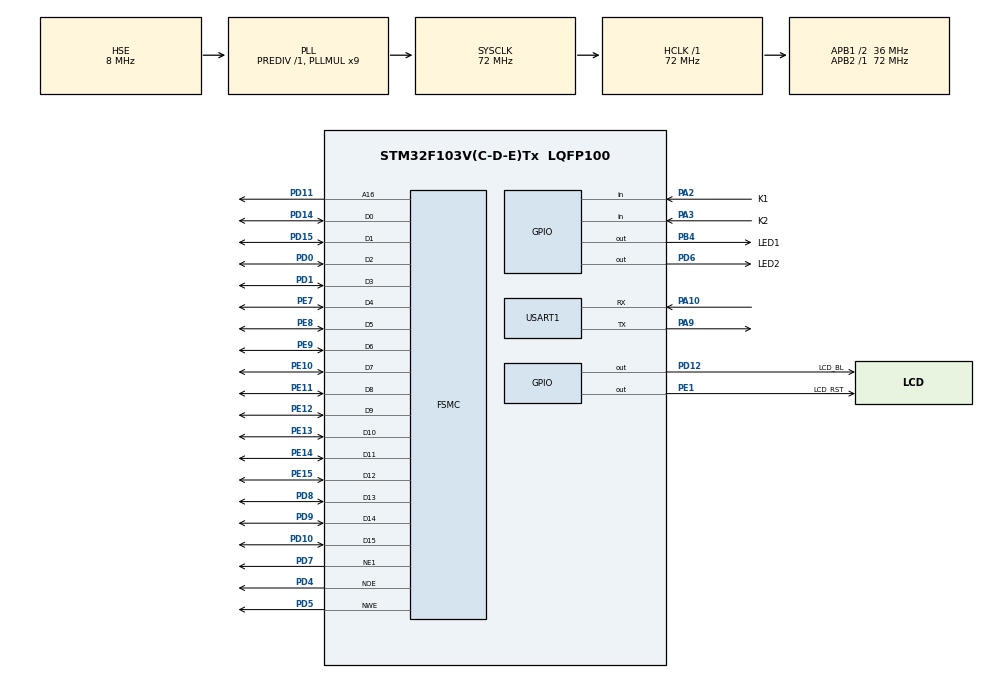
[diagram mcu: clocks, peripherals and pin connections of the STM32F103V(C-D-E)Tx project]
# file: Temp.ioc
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Mcu.Family=STM32F1
Mcu.Name=STM32F103V(C-D-E)Tx
Mcu.Package=LQFP100
NVIC.PriorityGroup=NVIC_PRIORITYGROUP_4
NVIC.TIM2_IRQn=true\:0\:0\:false\:false\:true\:true\:true\:true
NVIC.USART1_IRQn=true\:0\:0\:false\:false\:true\:true\:true\:true
OSC_IN.Mode=HSE-External-Oscillator
OSC_IN.Signal=RCC_OSC_IN
OSC_OUT.Mode=HSE-External-Oscillator
OSC_OUT.Signal=RCC_OSC_OUT
PA10.Mode=Asynchronous
PA10.Signal=USART1_RX
PA13.Mode=Serial_Wire
PA13.Signal=SYS_JTMS-SWDIO
PA14.Mode=Serial_Wire
PA14.Signal=SYS_JTCK-SWCLK
PA2.GPIO_Label=K1
PA2.Signal=GPIO_Input
PA3.GPIO_Label=K2
PA3.Signal=GPIO_Input
PA9.Mode=Asynchronous
PA9.Signal=USART1_TX
PB4.GPIO_Label=LED1
PB4.GPIO_ModeDefaultOutputPP=GPIO_MODE_OUTPUT_PP
PB4.GPIO_PuPd=GPIO_PULLUP
PB4.GPIO_Speed=GPIO_SPEED_FREQ_HIGH
PB4.PinState=GPIO_PIN_SET
PB4.Signal=GPIO_Output
PC14-OSC32_IN.Mode=LSE-External-Oscillator
PC14-OSC32_IN.Signal=RCC_OSC32_IN
PC15-OSC32_OUT.Mode=LSE-External-Oscillator
PC15-OSC32_OUT.Signal=RCC_OSC32_OUT
PD0.Mode=16b-d1
PD0.Signal=FSMC_D2
PD1.Mode=16b-d1
PD1.Signal=FSMC_D3
PD10.Mode=16b-d1
PD10.Signal=FSMC_D15
PD11.Mode=A16_1
PD11.Signal=FSMC_A16
PD12.GPIO_Label=LCD_BL
PD12.GPIO_ModeDefaultOutputPP=GPIO_MODE_OUTPUT_PP
PD12.GPIO_PuPd=GPIO_PULLUP
PD12.GPIO_Speed=GPIO_SPEED_FREQ_HIGH
PD12.PinState=GPIO_PIN_SET
PD12.Signal=GPIO_Output
PD14.Mode=16b-d1
PD14.Signal=FSMC_D0
PD15.Mode=16b-d1
PD15.Signal=FSMC_D1
PD4.Mode=Lcd1
PD4.Signal=FSMC_NOE
PD5.Mode=Lcd1
PD5.Signal=FSMC_NWE
PD6.GPIO_Label=LED2
PD6.GPIO_ModeDefaultOutputPP=GPIO_MODE_OUTPUT_PP
PD6.GPIO_PuPd=GPIO_PULLUP
PD6.GPIO_Speed=GPIO_SPEED_FREQ_HIGH
PD6.PinState=GPIO_PIN_SET
PD6.Signal=GPIO_Output
PD7.Mode=NorPsramChipSelect1_1
PD7.Signal=FSMC_NE1
PD8.Mode=16b-d1
PD8.Signal=FSMC_D13
PD9.Mode=16b-d1
PD9.Signal=FSMC_D14
PE1.GPIO_Label=LCD_RST
PE1.GPIO_ModeDefaultOutputPP=GPIO_MODE_OUTPUT_PP
PE1.GPIO_PuPd=GPIO_PULLUP
PE1.GPIO_Speed=GPIO_SPEED_FREQ_HIGH
PE1.PinState=GPIO_PIN_SET
PE1.Signal=GPIO_Output
PE10.Mode=16b-d1
PE10.Signal=FSMC_D7
PE11.Mode=16b-d1
PE11.Signal=FSMC_D8
PE12.Mode=16b-d1
PE12.Signal=FSMC_D9
PE13.Mode=16b-d1
PE13.Signal=FSMC_D10
PE14.Mode=16b-d1
PE14.Signal=FSMC_D11
PE15.Mode=16b-d1
PE15.Signal=FSMC_D12
PE7.Mode=16b-d1
PE7.Signal=FSMC_D4
PE8.Mode=16b-d1
PE8.Signal=FSMC_D5
PE9.Mode=16b-d1
PE9.Signal=FSMC_D6
ProjectManager.HeapSize=0x2000
ProjectManager.StackSize=0x2000
ProjectManager.TargetToolchain=Makefile
RCC.AHBFreq_Value=72000000
RCC.APB1CLKDivider=RCC_HCLK_DIV2
RCC.APB1Freq_Value=36000000
RCC.APB1TimFreq_Value=72000000
RCC.APB2Freq_Value=72000000
RCC.APB2TimFreq_Value=72000000
RCC.HCLKFreq_Value=72000000
RCC.PLLMUL=RCC_PLL_MUL9
RCC.PLLSourceVirtual=RCC_PLLSOURCE_HSE
RCC.RCC_MCOSource=RCC_MCO1SOURCE_PLLCLK
RCC.SYSCLKFreq_VALUE=72000000
RCC.SYSCLKSource=RCC_SYSCLKSOURCE_PLLCLK
RCC.USBFreq_Value=72000000
TIM2.AutoReloadPreload=TIM_AUTORELOAD_PRELOAD_ENABLE
TIM2.Period=999
TIM2.Prescaler=71
USART1.VirtualMode=VM_ASYNC
VP_TIM2_VS_ClockSourceINT.Mode=Internal
board=custom

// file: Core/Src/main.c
/* USER CODE BEGIN Header */
/**
  ******************************************************************************
  * @file           : main.c
  * @brief          : Main program body
  ******************************************************************************
  * @attention
  *
  * Copyright (c) 2025 STMicroelectronics.
  * All rights reserved.
  *
  * This software is licensed under terms that can be found in the LICENSE file
  * in the root directory of this software component.
  * If no LICENSE file comes with this software, it is provided AS-IS.
  *
  ******************************************************************************
  */
/* USER CODE END Header */
#include "main.h"

/* USER CODE BEGIN Includes */
#include "stdio.h"//printf函数
#include "bsp_lcd_driver.h"
#include "lvgl.h"
#include "lv_port_disp.h"
#include "lv_port_indev.h"
#include "my_lvgl_app.h"
/* USER CODE END Includes */

/* USER CODE BEGIN PTD */
uint8_t rx_buff[100];  //接收缓存
uint8_t rx_done = 0; //接收完成标志
uint8_t rx_cnt = 0;//接收数据长度
/* USER CODE END PTD */

TIM_HandleTypeDef htim2;

UART_HandleTypeDef huart1;

SRAM_HandleTypeDef hsram1;

void SystemClock_Config(void);
static void MX_GPIO_Init(void);
static void MX_USART1_UART_Init(void);
static void MX_FSMC_Init(void);
static void MX_TIM2_Init(void);

/* USER CODE BEGIN 0 */
void my_print(lv_log_level_t level, const char * buf);
void my_lvgl_app(void)
{
//	lv_ex_label_1();
	//lv_example_get_started_2();
	 lv_example_anim_1();
	//lv_line_test_start();
	//my_lvgl_nebula();
	//my_lvgl_pages();
	//my_lvgl_rgb();
	//ry_test();//ry_test
}
/* USER CODE END 0 */

int main(void)
{

  /* MCU Configuration--------------------------------------------------------*/

  /* Reset of all peripherals, Initializes the Flash interface and the Systick. */
  HAL_Init();

  /* Configure the system clock */
  SystemClock_Config();

  /* Initialize all configured peripherals */
  MX_GPIO_Init();
  MX_USART1_UART_Init();
  MX_FSMC_Init();
  MX_TIM2_Init();
  /* USER CODE BEGIN 2 */
  HAL_TIM_Base_Start_IT(&htim2);
	lv_init();
	lv_port_disp_init();
	//lv_port_indev_init();
  lv_log_register_print_cb(my_print);
  my_lvgl_app();
   /*
   // 创建测试UI
		//LCD_SetColors(BLACK,RED);
    lv_obj_t* label2 = lv_label_create(lv_scr_act());
    //lv_label_set_recolor(label2,true);
  lv_label_set_long_mode(label2,LV_LABEL_LONG_SCROLL_CIRCULAR);//circular scroll
  lv_obj_set_width(label2,120);
  // Hello world ! Trisuborn.
  lv_label_set_text(label2,"#ff Hello www.rymcu.com,LVGL STM32F103VET6 RT-thread os#");
  lv_obj_align(label2,LV_ALIGN_CENTER,0,0);
  lv_obj_invalidate(label2);*/
  /* USER CODE END 2 */

  /* Infinite loop */
  while (1)
  {

    /* USER CODE BEGIN 3 */
		lv_timer_handler();
		HAL_Delay(5);
    HAL_GPIO_TogglePin(LED1_GPIO_Port,LED1_Pin);
    //lv_tick_inc(1);
  }
  /* USER CODE END 3 */
}

void SystemClock_Config(void)
{
  RCC_OscInitTypeDef RCC_OscInitStruct = {0};
  RCC_ClkInitTypeDef RCC_ClkInitStruct = {0};

  /** Initializes the RCC Oscillators according to the specified parameters
  * in the RCC_OscInitTypeDef structure.
  */
  RCC_OscInitStruct.OscillatorType = RCC_OSCILLATORTYPE_HSE;
  RCC_OscInitStruct.HSEState = RCC_HSE_ON;
  RCC_OscInitStruct.HSEPredivValue = RCC_HSE_PREDIV_DIV1;
  RCC_OscInitStruct.HSIState = RCC_HSI_ON;
  RCC_OscInitStruct.PLL.PLLState = RCC_PLL_ON;
  RCC_OscInitStruct.PLL.PLLSource = RCC_PLLSOURCE_HSE;
  RCC_OscInitStruct.PLL.PLLMUL = RCC_PLL_MUL9;
  if (HAL_RCC_OscConfig(&RCC_OscInitStruct) != HAL_OK)
  {
    Error_Handler();
  }

  /** Initializes the CPU, AHB and APB buses clocks
  */
  RCC_ClkInitStruct.ClockType = RCC_CLOCKTYPE_HCLK|RCC_CLOCKTYPE_SYSCLK
                              |RCC_CLOCKTYPE_PCLK1|RCC_CLOCKTYPE_PCLK2;
  RCC_ClkInitStruct.SYSCLKSource = RCC_SYSCLKSOURCE_PLLCLK;
  RCC_ClkInitStruct.AHBCLKDivider = RCC_SYSCLK_DIV1;
  RCC_ClkInitStruct.APB1CLKDivider = RCC_HCLK_DIV2;
  RCC_ClkInitStruct.APB2CLKDivider = RCC_HCLK_DIV1;

  if (HAL_RCC_ClockConfig(&RCC_ClkInitStruct, FLASH_LATENCY_2) != HAL_OK)
  {
    Error_Handler();
  }
}

static void MX_TIM2_Init(void)
{

  TIM_ClockConfigTypeDef sClockSourceConfig = {0};
  TIM_MasterConfigTypeDef sMasterConfig = {0};

  htim2.Instance = TIM2;
  htim2.Init.Prescaler = 71;
  htim2.Init.CounterMode = TIM_COUNTERMODE_UP;
  htim2.Init.Period = 999;
  htim2.Init.ClockDivision = TIM_CLOCKDIVISION_DIV1;
  htim2.Init.AutoReloadPreload = TIM_AUTORELOAD_PRELOAD_ENABLE;
  if (HAL_TIM_Base_Init(&htim2) != HAL_OK)
  {
    Error_Handler();
  }
  sClockSourceConfig.ClockSource = TIM_CLOCKSOURCE_INTERNAL;
  if (HAL_TIM_ConfigClockSource(&htim2, &sClockSourceConfig) != HAL_OK)
  {
    Error_Handler();
  }
  sMasterConfig.MasterOutputTrigger = TIM_TRGO_RESET;
  sMasterConfig.MasterSlaveMode = TIM_MASTERSLAVEMODE_DISABLE;
  if (HAL_TIMEx_MasterConfigSynchronization(&htim2, &sMasterConfig) != HAL_OK)
  {
    Error_Handler();
  }

}

static void MX_USART1_UART_Init(void)
{

  huart1.Instance = USART1;
  huart1.Init.BaudRate = 115200;
  huart1.Init.WordLength = UART_WORDLENGTH_8B;
  huart1.Init.StopBits = UART_STOPBITS_1;
  huart1.Init.Parity = UART_PARITY_NONE;
  huart1.Init.Mode = UART_MODE_TX_RX;
  huart1.Init.HwFlowCtl = UART_HWCONTROL_NONE;
  huart1.Init.OverSampling = UART_OVERSAMPLING_16;
  if (HAL_UART_Init(&huart1) != HAL_OK)
  {
    Error_Handler();
  }
  /* USER CODE BEGIN USART1_Init 2 */
  //�????启接收中断，空闲中断
  __HAL_UART_ENABLE_IT(&huart1,UART_IT_IDLE|UART_IT_RXNE);
  /* USER CODE END USART1_Init 2 */

}

static void MX_GPIO_Init(void)
{
  GPIO_InitTypeDef GPIO_InitStruct = {0};

  /* GPIO Ports Clock Enable */
  __HAL_RCC_GPIOC_CLK_ENABLE();
  __HAL_RCC_GPIOA_CLK_ENABLE();
  __HAL_RCC_GPIOE_CLK_ENABLE();
  __HAL_RCC_GPIOD_CLK_ENABLE();
  __HAL_RCC_GPIOB_CLK_ENABLE();

  /*Configure GPIO pin Output Level */
  HAL_GPIO_WritePin(GPIOD, LCD_BL_Pin|LED2_Pin, GPIO_PIN_SET);

  /*Configure GPIO pin Output Level */
  HAL_GPIO_WritePin(LED1_GPIO_Port, LED1_Pin, GPIO_PIN_SET);

  /*Configure GPIO pin Output Level */
  HAL_GPIO_WritePin(LCD_RST_GPIO_Port, LCD_RST_Pin, GPIO_PIN_SET);

  /*Configure GPIO pins : K1_Pin K2_Pin */
  GPIO_InitStruct.Pin = K1_Pin|K2_Pin;
  GPIO_InitStruct.Mode = GPIO_MODE_INPUT;
  GPIO_InitStruct.Pull = GPIO_NOPULL;
  HAL_GPIO_Init(GPIOA, &GPIO_InitStruct);

  /*Configure GPIO pins : LCD_BL_Pin LED2_Pin */
  GPIO_InitStruct.Pin = LCD_BL_Pin|LED2_Pin;
  GPIO_InitStruct.Mode = GPIO_MODE_OUTPUT_PP;
  GPIO_InitStruct.Pull = GPIO_PULLUP;
  GPIO_InitStruct.Speed = GPIO_SPEED_FREQ_HIGH;
  HAL_GPIO_Init(GPIOD, &GPIO_InitStruct);

  /*Configure GPIO pin : LED1_Pin */
  GPIO_InitStruct.Pin = LED1_Pin;
  GPIO_InitStruct.Mode = GPIO_MODE_OUTPUT_PP;
  GPIO_InitStruct.Pull = GPIO_PULLUP;
  GPIO_InitStruct.Speed = GPIO_SPEED_FREQ_HIGH;
  HAL_GPIO_Init(LED1_GPIO_Port, &GPIO_InitStruct);

  /*Configure GPIO pin : LCD_RST_Pin */
  GPIO_InitStruct.Pin = LCD_RST_Pin;
  GPIO_InitStruct.Mode = GPIO_MODE_OUTPUT_PP;
  GPIO_InitStruct.Pull = GPIO_PULLUP;
  GPIO_InitStruct.Speed = GPIO_SPEED_FREQ_HIGH;
  HAL_GPIO_Init(LCD_RST_GPIO_Port, &GPIO_InitStruct);

}

/* FSMC initialization function */
static void MX_FSMC_Init(void)
{

  FSMC_NORSRAM_TimingTypeDef Timing = {0};

  /** Perform the SRAM1 memory initialization sequence
  */
  hsram1.Instance = FSMC_NORSRAM_DEVICE;
  hsram1.Extended = FSMC_NORSRAM_EXTENDED_DEVICE;
  /* hsram1.Init */
  hsram1.Init.NSBank = FSMC_NORSRAM_BANK1;
  hsram1.Init.DataAddressMux = FSMC_DATA_ADDRESS_MUX_DISABLE;
  hsram1.Init.MemoryType = FSMC_MEMORY_TYPE_SRAM;
  hsram1.Init.MemoryDataWidth = FSMC_NORSRAM_MEM_BUS_WIDTH_16;
  hsram1.Init.BurstAccessMode = FSMC_BURST_ACCESS_MODE_DISABLE;
  hsram1.Init.WaitSignalPolarity = FSMC_WAIT_SIGNAL_POLARITY_LOW;
  hsram1.Init.WrapMode = FSMC_WRAP_MODE_DISABLE;
  hsram1.Init.WaitSignalActive = FSMC_WAIT_TIMING_BEFORE_WS;
  hsram1.Init.WriteOperation = FSMC_WRITE_OPERATION_ENABLE;
  hsram1.Init.WaitSignal = FSMC_WAIT_SIGNAL_DISABLE;
  hsram1.Init.ExtendedMode = FSMC_EXTENDED_MODE_DISABLE;
  hsram1.Init.AsynchronousWait = FSMC_ASYNCHRONOUS_WAIT_DISABLE;
  hsram1.Init.WriteBurst = FSMC_WRITE_BURST_DISABLE;
  /* Timing */
  Timing.AddressSetupTime = 15;
  Timing.AddressHoldTime = 15;
  Timing.DataSetupTime = 255;
  Timing.BusTurnAroundDuration = 15;
  Timing.CLKDivision = 16;
  Timing.DataLatency = 17;
  Timing.AccessMode = FSMC_ACCESS_MODE_A;
  /* ExtTiming */

  if (HAL_SRAM_Init(&hsram1, &Timing, NULL) != HAL_OK)
  {
    Error_Handler( );
  }

  /** Disconnect NADV
  */

  __HAL_AFIO_FSMCNADV_DISCONNECTED();

}

/* USER CODE BEGIN 4 */
#ifdef __GNUC__
#define PUTCHAR_PROTOTYPE int __io_putchar(int ch)
#else
#define PUTCHAR_PROTOTYPE int fputc(int ch,FILE *f)
#endif /* __GNUC__ */
//重定向printf函数
PUTCHAR_PROTOTYPE
{
    HAL_UART_Transmit(&huart1,(uint8_t *)&ch,1,HAL_MAX_DELAY);//输出指向串口USART1
    return ch;
}
void my_print(lv_log_level_t level, const char * buf)
{
	//printf("%s",buf);
	uint16_t length;
	length  = lv_strlen(buf);
	HAL_UART_Transmit(&huart1,(uint8_t *)buf,length,0xFFFF);//输出指向串口USART1
}
void HAL_TIM_PeriodElapsedCallback(TIM_HandleTypeDef *htim)
{
	HAL_GPIO_TogglePin(LED2_GPIO_Port,LED2_Pin);
	static uint16_t i = 0;
	if (htim->Instance == htim2.Instance)
	{
		i++;
		if(i == 500)
		{
			i=0;
			HAL_GPIO_TogglePin(LED1_GPIO_Port,LED1_Pin);
			printf("tim2 update\r\n");
		}
		lv_tick_inc(1);
	}
}
/* USER CODE END 4 */

void Error_Handler(void)
{
  __disable_irq();
  while (1)
  {
  }
}
